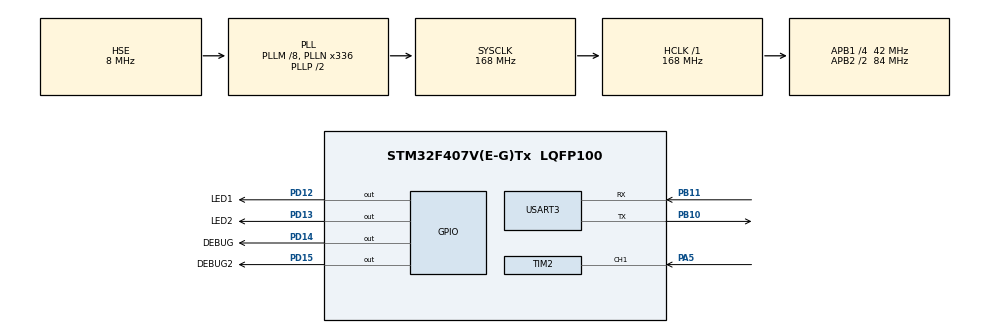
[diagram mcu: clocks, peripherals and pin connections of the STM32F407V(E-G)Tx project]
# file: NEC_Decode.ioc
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Dma.Request0=USART3_TX
Dma.Request1=TIM2_CH1
Dma.TIM2_CH1.1.Direction=DMA_PERIPH_TO_MEMORY
Dma.TIM2_CH1.1.FIFOMode=DMA_FIFOMODE_DISABLE
Dma.TIM2_CH1.1.Instance=DMA1_Stream5
Dma.TIM2_CH1.1.MemDataAlignment=DMA_MDATAALIGN_WORD
Dma.TIM2_CH1.1.MemInc=DMA_MINC_ENABLE
Dma.TIM2_CH1.1.Mode=DMA_NORMAL
Dma.TIM2_CH1.1.PeriphDataAlignment=DMA_PDATAALIGN_WORD
Dma.TIM2_CH1.1.PeriphInc=DMA_PINC_DISABLE
Dma.TIM2_CH1.1.Priority=DMA_PRIORITY_LOW
Dma.USART3_TX.0.Direction=DMA_MEMORY_TO_PERIPH
Dma.USART3_TX.0.FIFOMode=DMA_FIFOMODE_DISABLE
Dma.USART3_TX.0.Instance=DMA1_Stream3
Dma.USART3_TX.0.MemDataAlignment=DMA_MDATAALIGN_BYTE
Dma.USART3_TX.0.MemInc=DMA_MINC_ENABLE
Dma.USART3_TX.0.Mode=DMA_NORMAL
Dma.USART3_TX.0.PeriphDataAlignment=DMA_PDATAALIGN_BYTE
Dma.USART3_TX.0.PeriphInc=DMA_PINC_DISABLE
Dma.USART3_TX.0.Priority=DMA_PRIORITY_LOW
Mcu.Family=STM32F4
Mcu.Name=STM32F407V(E-G)Tx
Mcu.Package=LQFP100
NVIC.DMA1_Stream3_IRQn=true\:5\:0\:true\:true
NVIC.DMA1_Stream5_IRQn=true\:4\:0\:true\:true
NVIC.PriorityGroup=NVIC_PRIORITYGROUP_4
NVIC.TIM2_IRQn=true\:3\:0\:true\:true
NVIC.USART3_IRQn=true\:7\:0\:true\:true
PA13.Mode=Serial-Wire
PA13.Signal=SYS_JTMS-SWDIO
PA14.Mode=Serial-Wire
PA14.Signal=SYS_JTCK-SWCLK
PA5.Signal=S_TIM2_CH1_ETR
PB10.Mode=Asynchronous
PB10.Signal=USART3_TX
PB11.Mode=Asynchronous
PB11.Signal=USART3_RX
PD12.GPIO_Label=LED1
PD12.PinState=GPIO_PIN_SET
PD12.Signal=GPIO_Output
PD13.GPIO_Label=LED2
PD13.PinState=GPIO_PIN_SET
PD13.Signal=GPIO_Output
PD14.GPIO_Label=DEBUG
PD14.GPIO_Speed=GPIO_SPEED_FAST
PD14.Signal=GPIO_Output
PD15.GPIO_Label=DEBUG2
PD15.GPIO_Speed=GPIO_SPEED_FAST
PD15.Signal=GPIO_Output
PH0-OSC_IN.Mode=HSE-External-Oscillator
PH0-OSC_IN.Signal=RCC_OSC_IN
PH1-OSC_OUT.Mode=HSE-External-Oscillator
PH1-OSC_OUT.Signal=RCC_OSC_OUT
ProjectManager.HeapSize=0x400
ProjectManager.StackSize=0x200
ProjectManager.TargetToolchain=MDK-ARM V5
RCC.48MHZClocksFreq_Value=84000000
RCC.AHBFreq_Value=168000000
RCC.APB1CLKDivider=RCC_HCLK_DIV4
RCC.APB1Freq_Value=42000000
RCC.APB1TimFreq_Value=84000000
RCC.APB2CLKDivider=RCC_HCLK_DIV2
RCC.APB2Freq_Value=84000000
RCC.APB2TimFreq_Value=168000000
RCC.CortexFreq_Value=168000000
RCC.HCLKFreq_Value=168000000
RCC.HSE_VALUE=8000000
RCC.HSI_VALUE=16000000
RCC.LSE_VALUE=32768
RCC.PLLM=8
RCC.PLLN=336
RCC.PLLSourceVirtual=RCC_PLLSOURCE_HSE
RCC.SYSCLKFreq_VALUE=168000000
RCC.SYSCLKSource=RCC_SYSCLKSOURCE_PLLCLK
RCC.VCOOutputFreq_Value=336000000
SH.S_TIM2_CH1_ETR.0=TIM2_CH1,Input_Capture1_from_TI1
SH.S_TIM2_CH1_ETR.1=TIM2_CH1,TriggerSource_TI1FP1
TIM2.Channel-Input_Capture1_from_TI1=TIM_CHANNEL_1
TIM2.ICFilter_CH1=4
TIM2.ICPolarity_CH1=TIM_INPUTCHANNELPOLARITY_FALLING
TIM2.Period=0xffffffff
TIM2.Prescaler=83
TIM2.TIM_MasterOutputTrigger=TIM_TRGO_RESET
TIM2.TIM_MasterSlaveMode=TIM_MASTERSLAVEMODE_DISABLE
USART3.VirtualMode=VM_ASYNC
VP_TIM2_VS_ClockSourceINT.Mode=Internal
VP_TIM2_VS_ControllerModeReset.Mode=Reset Mode
board=NEC_Decode

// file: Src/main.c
/**
 ******************************************************************************
 * File Name          : main.c
 * Description        : Main program body
 ******************************************************************************
 *
 * COPYRIGHT(c) 2016 STMicroelectronics
 *
 * Redistribution and use in source and binary forms, with or without modification,
 * are permitted provided that the following conditions are met:
 *   1. Redistributions of source code must retain the above copyright notice,
 *      this list of conditions and the following disclaimer.
 *   2. Redistributions in binary form must reproduce the above copyright notice,
 *      this list of conditions and the following disclaimer in the documentation
 *      and/or other materials provided with the distribution.
 *   3. Neither the name of STMicroelectronics nor the names of its contributors
 *      may be used to endorse or promote products derived from this software
 *      without specific prior written permission.
 *
 * THIS SOFTWARE IS PROVIDED BY THE COPYRIGHT HOLDERS AND CONTRIBUTORS "AS IS"
 * AND ANY EXPRESS OR IMPLIED WARRANTIES, INCLUDING, BUT NOT LIMITED TO, THE
 * IMPLIED WARRANTIES OF MERCHANTABILITY AND FITNESS FOR A PARTICULAR PURPOSE ARE
 * DISCLAIMED. IN NO EVENT SHALL THE COPYRIGHT HOLDER OR CONTRIBUTORS BE LIABLE
 * FOR ANY DIRECT, INDIRECT, INCIDENTAL, SPECIAL, EXEMPLARY, OR CONSEQUENTIAL
 * DAMAGES (INCLUDING, BUT NOT LIMITED TO, PROCUREMENT OF SUBSTITUTE GOODS OR
 * SERVICES; LOSS OF USE, DATA, OR PROFITS; OR BUSINESS INTERRUPTION) HOWEVER
 * CAUSED AND ON ANY THEORY OF LIABILITY, WHETHER IN CONTRACT, STRICT LIABILITY,
 * OR TORT (INCLUDING NEGLIGENCE OR OTHERWISE) ARISING IN ANY WAY OUT OF THE USE
 * OF THIS SOFTWARE, EVEN IF ADVISED OF THE POSSIBILITY OF SUCH DAMAGE.
 *
 ******************************************************************************
 */
#include "stm32f4xx_hal.h"

/* USER CODE BEGIN Includes */
#include <string.h>
#include "NEC_Decode.h"
/* USER CODE END Includes */

TIM_HandleTypeDef htim2;
DMA_HandleTypeDef hdma_tim2_ch1;

UART_HandleTypeDef huart3;
DMA_HandleTypeDef hdma_usart3_tx;

/* USER CODE BEGIN PV */
/* Private variables ---------------------------------------------------------*/
NEC nec;
/* USER CODE END PV */

void SystemClock_Config(void);
static void MX_GPIO_Init(void);
static void MX_DMA_Init(void);
static void MX_USART3_UART_Init(void);
static void MX_TIM2_Init(void);

/* USER CODE BEGIN PFP */
/* Private function prototypes -----------------------------------------------*/

/* USER CODE END PFP */

/* USER CODE BEGIN 0 */
void myNecDecodedCallback(uint16_t address, uint8_t cmd) {
    char buff[100];
    snprintf(buff, 100, "A:%d \t C:%d\n", address, cmd);
    HAL_UART_Transmit_DMA(&huart3, (uint8_t*) buff, strlen(buff));
    HAL_GPIO_TogglePin(GPIOD, GPIO_PIN_14);
    HAL_Delay(10);
    NEC_Read(&nec);
}

void myNecErrorCallback() {
    char* msg = "Error!\n";
    HAL_UART_Transmit_DMA(&huart3, (uint8_t*) msg, strlen(msg));
    HAL_Delay(10);
    NEC_Read(&nec);
}

void myNecRepeatCallback() {
    char* msg = "Repeat!\n";
    HAL_UART_Transmit_DMA(&huart3, (uint8_t*) msg, strlen(msg));
    HAL_GPIO_TogglePin(GPIOD, GPIO_PIN_15);
    HAL_Delay(10);
    NEC_Read(&nec);
}

void HAL_TIM_IC_CaptureCallback(TIM_HandleTypeDef *htim) {
    if (htim == &htim2) {
        NEC_TIM_IC_CaptureCallback(&nec);
    }
}

/* USER CODE END 0 */

int main(void) {

    /* MCU Configuration----------------------------------------------------------*/

    /* Reset of all peripherals, Initializes the Flash interface and the Systick. */
    HAL_Init();

    /* Configure the system clock */
    SystemClock_Config();

    /* Initialize all configured peripherals */
    MX_GPIO_Init();
    MX_DMA_Init();
    MX_USART3_UART_Init();
    MX_TIM2_Init();

    /* USER CODE BEGIN 2 */
    nec.timerHandle = &htim2;

    nec.timerChannel = TIM_CHANNEL_1;
    nec.timerChannelActive = HAL_TIM_ACTIVE_CHANNEL_1;

    nec.timingBitBoundary = 1680;
    nec.timingAgcBoundary = 12500;
    nec.type = NEC_NOT_EXTENDED;

    nec.NEC_DecodedCallback = myNecDecodedCallback;
    nec.NEC_ErrorCallback = myNecErrorCallback;
    nec.NEC_RepeatCallback = myNecRepeatCallback;

    NEC_Read(&nec);
    /* USER CODE END 2 */

    /* Infinite loop */
    while (1) {

        /* USER CODE BEGIN 3 */
        HAL_GPIO_TogglePin(GPIOD, GPIO_PIN_12);
        HAL_Delay(100);
        HAL_GPIO_TogglePin(GPIOD, GPIO_PIN_13);
        HAL_Delay(100);
    }
    /* USER CODE END 3 */

}

/** System Clock Configuration
 */
void SystemClock_Config(void) {

    RCC_OscInitTypeDef RCC_OscInitStruct;
    RCC_ClkInitTypeDef RCC_ClkInitStruct;

    __PWR_CLK_ENABLE();

    __HAL_PWR_VOLTAGESCALING_CONFIG(PWR_REGULATOR_VOLTAGE_SCALE1);

    RCC_OscInitStruct.OscillatorType = RCC_OSCILLATORTYPE_HSE;
    RCC_OscInitStruct.HSEState = RCC_HSE_ON;
    RCC_OscInitStruct.PLL.PLLState = RCC_PLL_ON;
    RCC_OscInitStruct.PLL.PLLSource = RCC_PLLSOURCE_HSE;
    RCC_OscInitStruct.PLL.PLLM = 8;
    RCC_OscInitStruct.PLL.PLLN = 336;
    RCC_OscInitStruct.PLL.PLLP = RCC_PLLP_DIV2;
    RCC_OscInitStruct.PLL.PLLQ = 4;
    HAL_RCC_OscConfig(&RCC_OscInitStruct);

    RCC_ClkInitStruct.ClockType = RCC_CLOCKTYPE_HCLK | RCC_CLOCKTYPE_SYSCLK
            | RCC_CLOCKTYPE_PCLK1 | RCC_CLOCKTYPE_PCLK2;
    RCC_ClkInitStruct.SYSCLKSource = RCC_SYSCLKSOURCE_PLLCLK;
    RCC_ClkInitStruct.AHBCLKDivider = RCC_SYSCLK_DIV1;
    RCC_ClkInitStruct.APB1CLKDivider = RCC_HCLK_DIV4;
    RCC_ClkInitStruct.APB2CLKDivider = RCC_HCLK_DIV2;
    HAL_RCC_ClockConfig(&RCC_ClkInitStruct, FLASH_LATENCY_5);

    HAL_SYSTICK_Config(HAL_RCC_GetHCLKFreq() / 1000);

    HAL_SYSTICK_CLKSourceConfig(SYSTICK_CLKSOURCE_HCLK);

    /* SysTick_IRQn interrupt configuration */
    HAL_NVIC_SetPriority(SysTick_IRQn, 0, 0);
}

/* TIM2 init function */
void MX_TIM2_Init(void) {

    TIM_ClockConfigTypeDef sClockSourceConfig;
    TIM_SlaveConfigTypeDef sSlaveConfig;
    TIM_MasterConfigTypeDef sMasterConfig;
    TIM_IC_InitTypeDef sConfigIC;

    htim2.Instance = TIM2;
    htim2.Init.Prescaler = 83;
    htim2.Init.CounterMode = TIM_COUNTERMODE_UP;
    htim2.Init.Period = 0xffffffff;
    htim2.Init.ClockDivision = TIM_CLOCKDIVISION_DIV1;
    HAL_TIM_Base_Init(&htim2);

    sClockSourceConfig.ClockSource = TIM_CLOCKSOURCE_INTERNAL;
    HAL_TIM_ConfigClockSource(&htim2, &sClockSourceConfig);

    HAL_TIM_IC_Init(&htim2);

    sSlaveConfig.SlaveMode = TIM_SLAVEMODE_RESET;
    sSlaveConfig.InputTrigger = TIM_TS_TI1FP1;
    sSlaveConfig.TriggerPolarity = TIM_INPUTCHANNELPOLARITY_FALLING;
    sSlaveConfig.TriggerFilter = 4;
    HAL_TIM_SlaveConfigSynchronization(&htim2, &sSlaveConfig);

    sMasterConfig.MasterOutputTrigger = TIM_TRGO_RESET;
    sMasterConfig.MasterSlaveMode = TIM_MASTERSLAVEMODE_DISABLE;
    HAL_TIMEx_MasterConfigSynchronization(&htim2, &sMasterConfig);

    sConfigIC.ICPolarity = TIM_INPUTCHANNELPOLARITY_FALLING;
    sConfigIC.ICSelection = TIM_ICSELECTION_DIRECTTI;
    sConfigIC.ICPrescaler = TIM_ICPSC_DIV1;
    sConfigIC.ICFilter = 4;
    HAL_TIM_IC_ConfigChannel(&htim2, &sConfigIC, TIM_CHANNEL_1);

}

/* USART3 init function */
void MX_USART3_UART_Init(void) {

    huart3.Instance = USART3;
    huart3.Init.BaudRate = 115200;
    huart3.Init.WordLength = UART_WORDLENGTH_8B;
    huart3.Init.StopBits = UART_STOPBITS_1;
    huart3.Init.Parity = UART_PARITY_NONE;
    huart3.Init.Mode = UART_MODE_TX_RX;
    huart3.Init.HwFlowCtl = UART_HWCONTROL_NONE;
    huart3.Init.OverSampling = UART_OVERSAMPLING_16;
    HAL_UART_Init(&huart3);

}

void MX_DMA_Init(void) {
    /* DMA controller clock enable */
    __DMA1_CLK_ENABLE()
    ;

    /* DMA interrupt init */
    HAL_NVIC_SetPriority(DMA1_Stream3_IRQn, 5, 0);
    HAL_NVIC_EnableIRQ(DMA1_Stream3_IRQn);
    HAL_NVIC_SetPriority(DMA1_Stream5_IRQn, 4, 0);
    HAL_NVIC_EnableIRQ(DMA1_Stream5_IRQn);

}

/** Configure pins as
 * Analog
 * Input
 * Output
 * EVENT_OUT
 * EXTI
 */
void MX_GPIO_Init(void) {

    GPIO_InitTypeDef GPIO_InitStruct;

    /* GPIO Ports Clock Enable */
    __GPIOH_CLK_ENABLE()
    ;
    __GPIOA_CLK_ENABLE()
    ;
    __GPIOB_CLK_ENABLE()
    ;
    __GPIOD_CLK_ENABLE()
    ;

    /*Configure GPIO pin Output Level */
    HAL_GPIO_WritePin(GPIOD, LED1_Pin | LED2_Pin, GPIO_PIN_SET);

    /*Configure GPIO pin Output Level */
    HAL_GPIO_WritePin(GPIOD, DEBUG_Pin | DEBUG2_Pin, GPIO_PIN_RESET);

    /*Configure GPIO pins : LED1_Pin LED2_Pin */
    GPIO_InitStruct.Pin = LED1_Pin | LED2_Pin;
    GPIO_InitStruct.Mode = GPIO_MODE_OUTPUT_PP;
    GPIO_InitStruct.Pull = GPIO_NOPULL;
    GPIO_InitStruct.Speed = GPIO_SPEED_LOW;
    HAL_GPIO_Init(GPIOD, &GPIO_InitStruct);

    /*Configure GPIO pins : DEBUG_Pin DEBUG2_Pin */
    GPIO_InitStruct.Pin = DEBUG_Pin | DEBUG2_Pin;
    GPIO_InitStruct.Mode = GPIO_MODE_OUTPUT_PP;
    GPIO_InitStruct.Pull = GPIO_NOPULL;
    GPIO_InitStruct.Speed = GPIO_SPEED_FAST;
    HAL_GPIO_Init(GPIOD, &GPIO_InitStruct);

}

/************************ (C) COPYRIGHT STMicroelectronics *****END OF FILE****/
